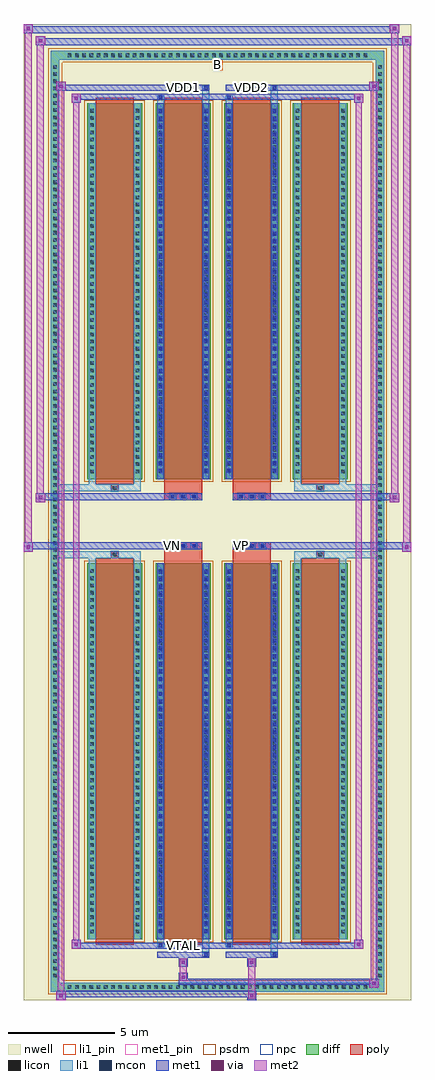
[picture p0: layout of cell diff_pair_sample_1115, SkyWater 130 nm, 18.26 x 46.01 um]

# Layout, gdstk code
import gdstk
lib = gdstk.Library(unit=1e-6, precision=5e-09)
def R(c, l, rs):  # rectangles x0, y0, x1, y1
    for r in rs: c.add(gdstk.rectangle(r[:2], r[2:], *l))
def A(c, l, x, y, w, h, nx, ny, dx, dy):  # array of equal rectangles
    R(c, l, [(x+i*dx, y+j*dy, x+i*dx+w, y+j*dy+h) for i in range(nx) for j in range(ny)])
def P(c, l, *ps):  # polygons
    for p in ps: c.add(gdstk.Polygon(p, *l))
nwell = (64, 20)
diff = (65, 20)
poly = (66, 20)
licon = (66, 44)
li1_pin = (67, 16)
li1 = (67, 20)
mcon = (67, 44)
met1_pin = (68, 16)
met1 = (68, 20)
via = (68, 44)
met2 = (69, 20)
psdm = (94, 20)
npc = (95, 20)

diff_pair_sample_1115 = lib.new_cell('diff_pair_sample_1115')
R(diff_pair_sample_1115, nwell, [(-9.13,-22.57,9.13,23.44), (-6.45,-20.76,-0.01,-0.8), (0.01,-20.76,6.45,-0.8), (-6.45,0.8,-0.01,20.76), (0.01,0.8,6.45,20.76)])
A(diff_pair_sample_1115, diff, -7.175, -22.17, 0.41, 0.41, 42, 2, 0.34, 43.93)
A(diff_pair_sample_1115, diff, -7.86, -21.625, 0.41, 0.41, 1, 127, 0, 0.34)
A(diff_pair_sample_1115, diff, 7.45, -21.625, 0.41, 0.41, 1, 127, 0, 0.34)
A(diff_pair_sample_1115, diff, -6.14, -19.715, 2.59, 17.73, 4, 2, 3.23, 21.7)
R(diff_pair_sample_1115, diff, [(-7.175,-22.17,7.175,-21.76), (-7.86,-21.625,-7.45,21.625), (7.45,-21.625,7.86,21.625), (-7.175,21.76,7.175,22.17)])
P(diff_pair_sample_1115, diff, [(7.86,22.17),(-7.86,22.17),(-7.86,-21.76),(-7.45,-21.76),(-7.45,21.76),(7.45,21.76),(7.45,-21.76),(-7.45,-21.76),(-7.86,-21.76),(-7.86,-22.17),(7.86,-22.17)])
A(diff_pair_sample_1115, poly, -5.75, -19.965, 1.81, 18.23, 4, 2, 3.23, 21.7)
A(diff_pair_sample_1115, poly, -2.28, -1.33, 0.33, 0.33, 3, 2, 0.5, 2.33)
A(diff_pair_sample_1115, poly, 0.95, -1.33, 0.33, 0.33, 3, 2, 0.5, 2.33)
R(diff_pair_sample_1115, poly, [(-5.01,-1.735,-4.68,-1.405), (-5.01,-1.735,-4.68,-1.405), (-2.52,-1.735,-0.71,-1.33), (0.71,-1.735,2.52,-1.33), (4.68,-1.735,5.01,-1.405), (4.68,-1.735,5.01,-1.405), (-2.52,-1.33,-0.71,-1), (0.71,-1.33,2.52,-1), (-2.52,1,-0.71,1.33), (0.71,1,2.52,1.33), (-2.52,1.33,-0.71,1.735), (0.71,1.33,2.52,1.735), (-5.01,1.405,-4.68,1.735), (-5.01,1.405,-4.68,1.735), (4.68,1.405,5.01,1.735), (4.68,1.405,5.01,1.735)])
A(diff_pair_sample_1115, licon, -7.055, -22.05, 0.17, 0.17, 42, 2, 0.34, 43.93)
A(diff_pair_sample_1115, licon, -7.74, -21.505, 0.17, 0.17, 1, 127, 0, 0.34)
A(diff_pair_sample_1115, licon, 7.57, -21.505, 0.17, 0.17, 1, 127, 0, 0.34)
A(diff_pair_sample_1115, licon, -6, -19.435, 0.17, 0.17, 1, 51, 0, 0.34)
A(diff_pair_sample_1115, licon, -3.86, -19.435, 0.17, 0.17, 1, 51, 0, 0.34)
A(diff_pair_sample_1115, licon, -2.77, -19.435, 0.17, 0.17, 1, 51, 0, 0.34)
A(diff_pair_sample_1115, licon, -0.63, -19.435, 0.17, 0.17, 1, 51, 0, 0.34)
A(diff_pair_sample_1115, licon, 0.46, -19.435, 0.17, 0.17, 1, 51, 0, 0.34)
A(diff_pair_sample_1115, licon, 2.6, -19.435, 0.17, 0.17, 1, 51, 0, 0.34)
A(diff_pair_sample_1115, licon, 3.69, -19.435, 0.17, 0.17, 1, 51, 0, 0.34)
A(diff_pair_sample_1115, licon, 5.83, -19.435, 0.17, 0.17, 1, 51, 0, 0.34)
A(diff_pair_sample_1115, licon, -2.2, -1.25, 0.17, 0.17, 3, 2, 0.5, 2.33)
A(diff_pair_sample_1115, licon, 1.03, -1.25, 0.17, 0.17, 3, 2, 0.5, 2.33)
A(diff_pair_sample_1115, licon, -6, 2.265, 0.17, 0.17, 1, 51, 0, 0.34)
A(diff_pair_sample_1115, licon, -3.86, 2.265, 0.17, 0.17, 1, 51, 0, 0.34)
A(diff_pair_sample_1115, licon, -2.77, 2.265, 0.17, 0.17, 1, 51, 0, 0.34)
A(diff_pair_sample_1115, licon, -0.63, 2.265, 0.17, 0.17, 1, 51, 0, 0.34)
A(diff_pair_sample_1115, licon, 0.46, 2.265, 0.17, 0.17, 1, 51, 0, 0.34)
A(diff_pair_sample_1115, licon, 2.6, 2.265, 0.17, 0.17, 1, 51, 0, 0.34)
A(diff_pair_sample_1115, licon, 3.69, 2.265, 0.17, 0.17, 1, 51, 0, 0.34)
A(diff_pair_sample_1115, licon, 5.83, 2.265, 0.17, 0.17, 1, 51, 0, 0.34)
R(diff_pair_sample_1115, licon, [(-4.93,-1.655,-4.76,-1.485), (4.76,-1.655,4.93,-1.485), (-4.93,1.485,-4.76,1.655), (4.76,1.485,4.93,1.655)])
R(diff_pair_sample_1115, li1_pin, [(-0.25,21.26,0.25,21.76)])
A(diff_pair_sample_1115, li1, -7.135, -22.13, 0.33, 0.33, 42, 2, 0.34, 43.93)
A(diff_pair_sample_1115, li1, -7.82, -21.585, 0.33, 0.33, 1, 127, 0, 0.34)
A(diff_pair_sample_1115, li1, 7.49, -21.585, 0.33, 0.33, 1, 127, 0, 0.34)
A(diff_pair_sample_1115, li1, -6.08, -19.515, 0.33, 0.33, 1, 51, 0, 0.34)
A(diff_pair_sample_1115, li1, -3.94, -19.515, 0.33, 0.33, 1, 51, 0, 0.34)
A(diff_pair_sample_1115, li1, -2.85, -19.515, 0.33, 0.33, 1, 51, 0, 0.34)
A(diff_pair_sample_1115, li1, -0.71, -19.515, 0.33, 0.33, 1, 51, 0, 0.34)
A(diff_pair_sample_1115, li1, 0.38, -19.515, 0.33, 0.33, 1, 51, 0, 0.34)
A(diff_pair_sample_1115, li1, 2.52, -19.515, 0.33, 0.33, 1, 51, 0, 0.34)
A(diff_pair_sample_1115, li1, 3.61, -19.515, 0.33, 0.33, 1, 51, 0, 0.34)
A(diff_pair_sample_1115, li1, 5.75, -19.515, 0.33, 0.33, 1, 51, 0, 0.34)
A(diff_pair_sample_1115, li1, -2.77, -19.395, 0.17, 0.17, 1, 48, 0, 0.36)
A(diff_pair_sample_1115, li1, -0.63, -19.395, 0.17, 0.17, 1, 48, 0, 0.36)
A(diff_pair_sample_1115, li1, 0.46, -19.395, 0.17, 0.17, 1, 48, 0, 0.36)
A(diff_pair_sample_1115, li1, 2.6, -19.395, 0.17, 0.17, 1, 48, 0, 0.36)
A(diff_pair_sample_1115, li1, -2.28, -1.33, 0.33, 0.33, 3, 2, 0.5, 2.33)
A(diff_pair_sample_1115, li1, 0.95, -1.33, 0.33, 0.33, 3, 2, 0.5, 2.33)
A(diff_pair_sample_1115, li1, -6.08, 2.185, 0.33, 0.33, 1, 51, 0, 0.34)
A(diff_pair_sample_1115, li1, -3.94, 2.185, 0.33, 0.33, 1, 51, 0, 0.34)
A(diff_pair_sample_1115, li1, -2.85, 2.185, 0.33, 0.33, 1, 51, 0, 0.34)
A(diff_pair_sample_1115, li1, -0.71, 2.185, 0.33, 0.33, 1, 51, 0, 0.34)
A(diff_pair_sample_1115, li1, 0.38, 2.185, 0.33, 0.33, 1, 51, 0, 0.34)
A(diff_pair_sample_1115, li1, 2.52, 2.185, 0.33, 0.33, 1, 51, 0, 0.34)
A(diff_pair_sample_1115, li1, 3.61, 2.185, 0.33, 0.33, 1, 51, 0, 0.34)
A(diff_pair_sample_1115, li1, 5.75, 2.185, 0.33, 0.33, 1, 51, 0, 0.34)
A(diff_pair_sample_1115, li1, -2.77, 2.305, 0.17, 0.17, 1, 48, 0, 0.36)
A(diff_pair_sample_1115, li1, -0.63, 2.305, 0.17, 0.17, 1, 48, 0, 0.36)
A(diff_pair_sample_1115, li1, 0.46, 2.305, 0.17, 0.17, 1, 48, 0, 0.36)
A(diff_pair_sample_1115, li1, 2.6, 2.305, 0.17, 0.17, 1, 48, 0, 0.36)
R(diff_pair_sample_1115, li1, [(-7.86,-22.17,-7.45,-21.76), (-7.86,-22.17,-7.45,-21.76), (-7.45,-22.17,7.45,-21.76), (7.45,-22.17,7.86,-21.76), (7.45,-22.17,7.86,-21.76), (-7.86,-21.76,-7.45,21.76), (7.45,-21.76,7.86,21.76), (-0.71,-20.52,-0.38,-19.715), (-0.63,-20.52,-0.46,-20.35), (2.52,-20.52,2.85,-19.715), (2.6,-20.52,2.77,-20.35), (-2.85,-20.09,-2.52,-19.715), (-2.77,-20.09,-2.6,-19.92), (0.38,-20.09,0.71,-19.715), (0.46,-20.09,0.63,-19.92), (-6.08,-19.715,-5.75,-1.985), (-3.94,-19.715,-3.61,-1.985), (-2.85,-19.715,-2.52,-1.985), (-0.71,-19.715,-0.38,-1.985), (0.38,-19.715,0.71,-1.985), (2.52,-19.715,2.85,-1.985), (3.61,-19.715,3.94,-1.985), (5.75,-19.715,6.08,-1.985), (-2.77,-19.395,-2.6,-2.305), (-0.63,-19.395,-0.46,-2.305), (0.46,-19.395,0.63,-2.305), (2.6,-19.395,2.77,-2.305), (-6.08,-1.985,-5.75,-1.405), (-3.94,-1.985,-3.61,-1.405), (3.61,-1.985,3.94,-1.405), (5.75,-1.985,6.08,-1.405), (-7.86,-1.735,-5.01,-1.405), (-6.08,-1.735,-5.01,-1.405), (-5.01,-1.735,-4.68,-1.405), (-4.68,-1.735,-3.61,-1.405), (3.61,-1.735,4.68,-1.405), (4.68,-1.735,5.01,-1.405), (4.68,-1.735,7.86,-1.405), (5.01,-1.735,6.08,-1.405), (-7.86,1.405,-5.01,1.735), (-6.08,1.405,-5.01,1.735), (-6.08,1.405,-5.75,1.985), (-5.01,1.405,-4.68,1.735), (-4.68,1.405,-3.61,1.735), (-3.94,1.405,-3.61,1.985), (3.61,1.405,4.68,1.735), (3.61,1.405,3.94,1.985), (4.68,1.405,5.01,1.735), (4.68,1.405,7.86,1.735), (5.01,1.405,6.08,1.735), (5.75,1.405,6.08,1.985), (-6.08,1.985,-5.75,19.715), (-3.94,1.985,-3.61,19.715), (-2.85,1.985,-2.52,19.715), (-0.71,1.985,-0.38,19.715), (0.38,1.985,0.71,19.715), (2.52,1.985,2.85,19.715), (3.61,1.985,3.94,19.715), (5.75,1.985,6.08,19.715), (-2.77,2.305,-2.6,19.395), (-0.63,2.305,-0.46,19.395), (0.46,2.305,0.63,19.395), (2.6,2.305,2.77,19.395), (-2.85,19.715,-2.52,20.09), (-0.71,19.715,-0.38,20.52), (0.38,19.715,0.71,20.09), (2.52,19.715,2.85,20.52), (-2.77,19.92,-2.6,20.09), (0.46,19.92,0.63,20.09), (-0.63,20.35,-0.46,20.52), (2.6,20.35,2.77,20.52), (-7.86,21.76,-7.45,22.17), (-7.86,21.76,-7.45,22.17), (-7.45,21.76,7.45,22.17), (7.45,21.76,7.86,22.17), (7.45,21.76,7.86,22.17)])
A(diff_pair_sample_1115, mcon, -2.77, -19.395, 0.17, 0.17, 1, 48, 0, 0.36)
A(diff_pair_sample_1115, mcon, -0.63, -19.395, 0.17, 0.17, 1, 48, 0, 0.36)
A(diff_pair_sample_1115, mcon, 0.46, -19.395, 0.17, 0.17, 1, 48, 0, 0.36)
A(diff_pair_sample_1115, mcon, 2.6, -19.395, 0.17, 0.17, 1, 48, 0, 0.36)
A(diff_pair_sample_1115, mcon, -2.2, -1.25, 0.17, 0.17, 3, 2, 0.5, 2.33)
A(diff_pair_sample_1115, mcon, 1.03, -1.25, 0.17, 0.17, 3, 2, 0.5, 2.33)
A(diff_pair_sample_1115, mcon, -2.77, 2.305, 0.17, 0.17, 1, 48, 0, 0.36)
A(diff_pair_sample_1115, mcon, -0.63, 2.305, 0.17, 0.17, 1, 48, 0, 0.36)
A(diff_pair_sample_1115, mcon, 0.46, 2.305, 0.17, 0.17, 1, 48, 0, 0.36)
A(diff_pair_sample_1115, mcon, 2.6, 2.305, 0.17, 0.17, 1, 48, 0, 0.36)
R(diff_pair_sample_1115, mcon, [(-0.63,-20.52,-0.46,-20.35), (2.6,-20.52,2.77,-20.35), (-2.77,-20.09,-2.6,-19.92), (0.46,-20.09,0.63,-19.92), (-2.77,19.92,-2.6,20.09), (0.46,19.92,0.63,20.09), (-0.63,20.35,-0.46,20.52), (2.6,20.35,2.77,20.52)])
R(diff_pair_sample_1115, met1_pin, [(-1.75,-20.13,-1.48,-19.86), (-2.25,-1.29,-1.98,-1.02), (0.98,-1.29,1.25,-1.02), (-1.75,20.31,-1.48,20.58), (1.48,20.31,1.75,20.58)])
A(diff_pair_sample_1115, met1, -2.83, -19.455, 0.29, 0.29, 1, 48, 0, 0.36)
A(diff_pair_sample_1115, met1, -0.69, -19.455, 0.29, 0.29, 1, 48, 0, 0.36)
A(diff_pair_sample_1115, met1, 0.4, -19.455, 0.29, 0.29, 1, 48, 0, 0.36)
A(diff_pair_sample_1115, met1, 2.54, -19.455, 0.29, 0.29, 1, 48, 0, 0.36)
A(diff_pair_sample_1115, met1, -2.26, -1.31, 0.29, 0.29, 3, 2, 0.5, 2.33)
A(diff_pair_sample_1115, met1, 0.97, -1.31, 0.29, 0.29, 3, 2, 0.5, 2.33)
A(diff_pair_sample_1115, met1, -2.83, 2.245, 0.29, 0.29, 1, 48, 0, 0.36)
A(diff_pair_sample_1115, met1, -0.69, 2.245, 0.29, 0.29, 1, 48, 0, 0.36)
A(diff_pair_sample_1115, met1, 0.4, 2.245, 0.29, 0.29, 1, 48, 0, 0.36)
A(diff_pair_sample_1115, met1, 2.54, 2.245, 0.29, 0.29, 1, 48, 0, 0.36)
R(diff_pair_sample_1115, met1, [(-7.59,-22.57,-7.16,-22.14), (1.4,-22.57,1.83,-22.14), (-7.59,-22.43,1.83,-22.14), (7.16,-22,7.59,-21.57), (-1.83,-21.86,7.59,-21.57), (-1.83,-21.72,-1.4,-21.29), (-1.83,-21.01,-1.4,-20.58), (1.4,-21.01,1.83,-20.58), (-2.83,-20.58,-0.4,-20.29), (-0.69,-20.58,-0.4,-20.29), (0.4,-20.58,2.83,-20.29), (2.54,-20.58,2.83,-20.29), (-6.88,-20.15,-6.45,-19.72), (-6.88,-20.15,-2.83,-19.86), (-2.83,-20.15,-2.54,-19.86), (-2.83,-20.15,-0.4,-19.86), (-0.4,-20.15,0.4,-19.86), (0.4,-20.15,0.69,-19.86), (0.4,-20.15,2.83,-19.86), (2.83,-20.15,6.88,-19.86), (6.45,-20.15,6.88,-19.72), (-2.83,-19.715,-2.54,-1.985), (-0.69,-19.715,-0.4,-1.985), (0.4,-19.715,0.69,-1.985), (2.54,-19.715,2.83,-1.985), (-9.13,-1.43,-8.7,-1), (8.7,-1.43,9.13,-1), (-9.13,-1.33,-0.71,-1), (-2.52,-1.33,-0.71,-1), (0.71,-1.33,2.52,-1), (0.71,-1.33,9.13,-1), (-8.56,0.9,-8.13,1.33), (8.13,0.9,8.56,1.33), (-8.56,1,-2.52,1.33), (-2.52,1,-0.71,1.33), (0.71,1,2.52,1.33), (2.52,1,8.56,1.33), (-2.83,1.985,-2.54,19.715), (-0.69,1.985,-0.4,19.715), (0.4,1.985,0.69,19.715), (2.54,1.985,2.83,19.715), (-6.88,19.72,-6.45,20.15), (6.45,19.72,6.88,20.15), (-6.88,19.86,-2.83,20.15), (-2.83,19.86,-2.54,20.15), (-2.83,19.86,-0.4,20.15), (-0.4,19.86,0.4,20.15), (0.4,19.86,0.69,20.15), (0.4,19.86,2.83,20.15), (2.83,19.86,6.88,20.15), (-7.59,20.29,-7.16,20.72), (-7.59,20.29,-2.83,20.58), (-2.83,20.29,-0.4,20.58), (-0.69,20.29,-0.4,20.58), (0.4,20.29,2.83,20.58), (2.54,20.29,2.83,20.58), (2.83,20.29,7.59,20.58), (7.16,20.29,7.59,20.72), (-8.56,22.44,-8.13,22.87), (-8.56,22.44,-6.45,22.77), (-6.45,22.44,6.45,22.77), (6.45,22.44,9.13,22.77), (8.7,22.44,9.13,22.87), (-9.13,23.01,-8.7,23.44), (-9.13,23.01,-6.45,23.34), (-6.45,23.01,6.45,23.34), (6.45,23.01,8.56,23.34), (8.13,23.01,8.56,23.44)])
R(diff_pair_sample_1115, via, [(-7.45,-22.43,-7.3,-22.28), (1.54,-22.43,1.69,-22.28), (7.3,-21.86,7.45,-21.71), (-1.69,-21.58,-1.54,-21.43), (-1.69,-20.87,-1.54,-20.72), (1.54,-20.87,1.69,-20.72), (-6.74,-20.01,-6.59,-19.86), (6.59,-20.01,6.74,-19.86), (-8.99,-1.29,-8.84,-1.14), (8.84,-1.29,8.99,-1.14), (-8.42,1.04,-8.27,1.19), (8.27,1.04,8.42,1.19), (-6.74,19.86,-6.59,20.01), (6.59,19.86,6.74,20.01), (-7.45,20.43,-7.3,20.58), (7.3,20.43,7.45,20.58), (-8.42,22.58,-8.27,22.73), (8.84,22.58,8.99,22.73), (-8.99,23.15,-8.84,23.3), (8.27,23.15,8.42,23.3)])
R(diff_pair_sample_1115, met2, [(-7.59,-22.57,-7.16,-22.14), (-7.52,-22.57,-7.23,20.72), (-7.23,-22.57,-7.16,-22.14), (-7.54,-22.52,-7.21,-22.19), (1.45,-22.52,1.78,-22.19), (1.45,-22.19,1.78,-20.96), (7.16,-22,7.59,-21.57), (7.23,-22,7.52,20.72), (7.52,-22,7.59,-21.57), (7.21,-21.95,7.54,-21.62), (-1.78,-21.67,-1.45,-21.34), (-1.78,-21.34,-1.45,-20.96), (-1.78,-20.96,-1.45,-20.63), (1.45,-20.96,1.78,-20.63), (-6.88,-20.15,-6.45,-19.72), (-6.81,-20.15,-6.52,20.15), (-6.52,-20.15,-6.45,-19.72), (6.45,-20.15,6.88,-19.72), (6.52,-20.15,6.81,20.15), (6.81,-20.15,6.88,-19.72), (-6.83,-20.1,-6.5,-19.77), (6.5,-20.1,6.83,-19.77), (-9.13,-1.43,-8.7,-1), (-9.08,-1.43,-8.75,23.44), (-8.75,-1.43,-8.7,-1), (8.7,-1.43,9.13,-1), (8.75,-1.43,9.08,22.87), (9.08,-1.43,9.13,-1), (-9.08,-1.38,-8.75,-1.05), (8.75,-1.38,9.08,-1.05), (-8.56,0.9,-8.13,1.33), (-8.51,0.9,-8.18,22.87), (-8.18,0.9,-8.13,1.33), (8.13,0.9,8.56,1.33), (8.18,0.9,8.51,23.44), (8.51,0.9,8.56,1.33), (-8.51,0.95,-8.18,1.28), (8.18,0.95,8.51,1.28), (-6.88,19.72,-6.45,20.15), (-6.52,19.72,-6.45,20.15), (6.45,19.72,6.88,20.15), (6.81,19.72,6.88,20.15), (-6.83,19.77,-6.5,20.1), (6.5,19.77,6.83,20.1), (-7.59,20.29,-7.16,20.72), (-7.23,20.29,-7.16,20.72), (7.16,20.29,7.59,20.72), (7.52,20.29,7.59,20.72), (-7.54,20.34,-7.21,20.67), (7.21,20.34,7.54,20.67), (-8.56,22.44,-8.13,22.87), (-8.18,22.44,-8.13,22.87), (8.7,22.44,9.13,22.87), (9.08,22.44,9.13,22.87), (-8.51,22.49,-8.18,22.82), (8.75,22.49,9.08,22.82), (-9.13,23.01,-8.7,23.44), (-8.75,23.01,-8.7,23.44), (8.13,23.01,8.56,23.44), (8.51,23.01,8.56,23.44), (-9.08,23.06,-8.75,23.39), (8.18,23.06,8.51,23.39)])
A(diff_pair_sample_1115, psdm, -6.27, -19.845, 2.85, 17.99, 4, 2, 3.23, 21.7)
P(diff_pair_sample_1115, psdm, [(7.99,22.3),(-7.99,22.3),(-7.99,-21.63),(-7.32,-21.63),(-7.32,21.63),(7.32,21.63),(7.32,-21.63),(-7.32,-21.63),(-7.99,-21.63),(-7.99,-22.3),(7.99,-22.3)])
A(diff_pair_sample_1115, npc, -2.3, -1.35, 0.37, 0.37, 3, 2, 0.5, 2.33)
A(diff_pair_sample_1115, npc, 0.93, -1.35, 0.37, 0.37, 3, 2, 0.5, 2.33)
R(diff_pair_sample_1115, npc, [(-5.03,-1.755,-4.66,-1.385), (4.66,-1.755,5.03,-1.385), (-2.3,-1.35,-1.43,-0.98), (-2.3,-1.35,-1.43,-0.98), (-1.8,-1.35,-0.93,-0.98), (-1.8,-1.35,-0.93,-0.98), (0.93,-1.35,1.8,-0.98), (0.93,-1.35,1.8,-0.98), (1.43,-1.35,2.3,-0.98), (1.43,-1.35,2.3,-0.98), (-2.3,0.98,-1.43,1.35), (-2.3,0.98,-1.43,1.35), (-1.8,0.98,-0.93,1.35), (-1.8,0.98,-0.93,1.35), (0.93,0.98,1.8,1.35), (0.93,0.98,1.8,1.35), (1.43,0.98,2.3,1.35), (1.43,0.98,2.3,1.35), (-5.03,1.385,-4.66,1.755), (4.66,1.385,5.03,1.755)])
diff_pair_sample_1115.add(gdstk.Label('VTAIL', (-1.615,-19.995), layer=68, texttype=5))
diff_pair_sample_1115.add(gdstk.Label('VN', (-2.115,-1.155), layer=68, texttype=5))
diff_pair_sample_1115.add(gdstk.Label('VP', (1.115,-1.155), layer=68, texttype=5))
diff_pair_sample_1115.add(gdstk.Label('B', (0,21.51), layer=67, texttype=5))
diff_pair_sample_1115.add(gdstk.Label('VDD2', (1.615,20.445), layer=68, texttype=5))
diff_pair_sample_1115.add(gdstk.Label('VDD1', (-1.615,20.445), layer=68, texttype=5))

lib.write_gds('diff_pair_sample_1115.gds')
